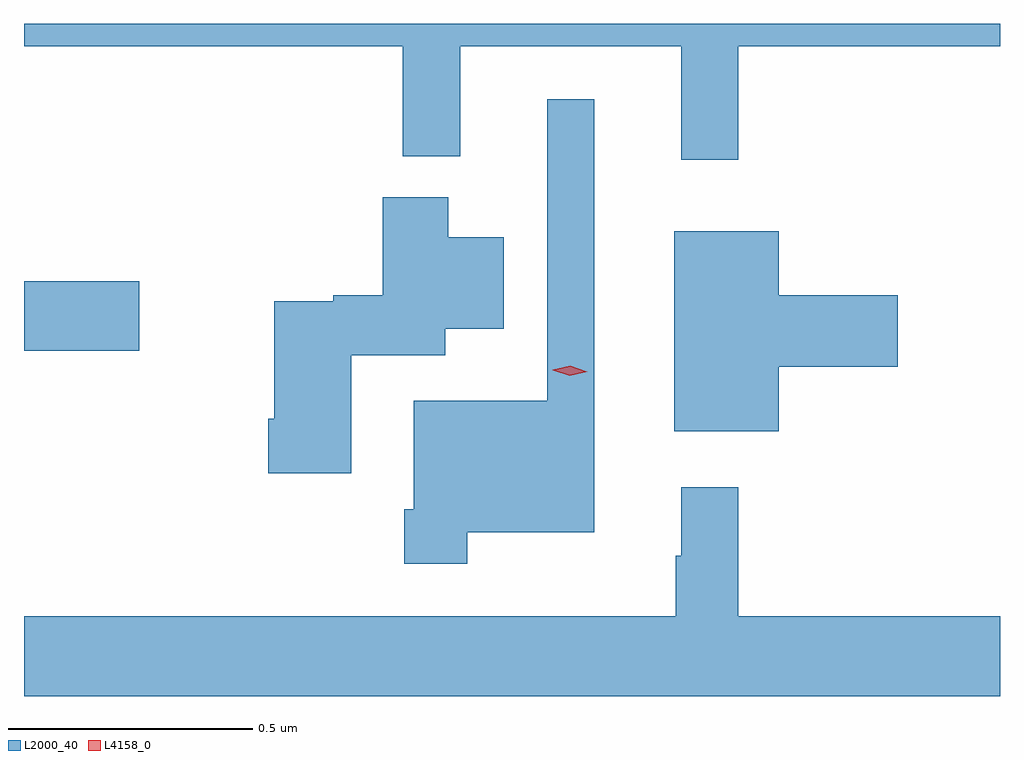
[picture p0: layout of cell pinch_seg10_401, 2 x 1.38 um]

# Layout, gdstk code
import gdstk
lib = gdstk.Library(unit=1e-6, precision=1e-09)
def R(c, l, rs):  # rectangles x0, y0, x1, y1
    for r in rs: c.add(gdstk.rectangle(r[:2], r[2:], *l))
def P(c, l, *ps):  # polygons
    for p in ps: c.add(gdstk.Polygon(p, *l))
L2000_40 = (2000, 40)
L4158_0 = (4158, 0)

pinch_seg10_401 = lib.new_cell('pinch_seg10_401')
R(pinch_seg10_401, L2000_40, [(555.329,1258.4,555.565,1258.542)])
P(pinch_seg10_401, L2000_40, [(556.793,1259.024),(557.329,1259.024),(557.329,1259.07),(555.329,1259.07),(555.329,1259.024),(556.105,1259.024),(556.105,1258.799),(556.223,1258.799),(556.223,1259.024),(556.676,1259.024),(556.676,1258.791),(556.793,1258.791)],
  [(556.237,1258.028),(556.498,1258.028),(556.498,1258.915),(556.401,1258.915),(556.401,1258.297),(556.128,1258.297),(556.128,1258.075),(556.108,1258.075),(556.108,1257.963),(556.237,1257.963)],
  [(556,1258.391),(556.192,1258.391),(556.192,1258.445),(556.312,1258.445),(556.312,1258.633),(556.198,1258.633),(556.198,1258.714),(556.064,1258.714),(556.064,1258.514),(555.963,1258.514),(555.963,1258.501),(555.842,1258.501),(555.842,1258.261),(555.83,1258.261),(555.83,1258.149),(556,1258.149)],
  [(556.876,1258.367),(557.119,1258.367),(557.119,1258.514),(556.876,1258.514),(556.876,1258.645),(556.661,1258.645),(556.661,1258.235),(556.876,1258.235)],
  [(557.329,1257.856),(556.793,1257.856),(556.793,1258.12),(556.676,1258.12),(556.676,1257.98),(556.665,1257.98),(556.665,1257.856),(555.329,1257.856),(555.329,1257.692),(557.329,1257.692)])
P(pinch_seg10_401, L4158_0, [(556.447,1258.349),(556.412,1258.36),(556.412,1258.361),(556.412,1258.361),(556.448,1258.369),(556.483,1258.357),(556.483,1258.357),(556.483,1258.357)])

lib.write_gds('pinch_seg10_401.gds')
